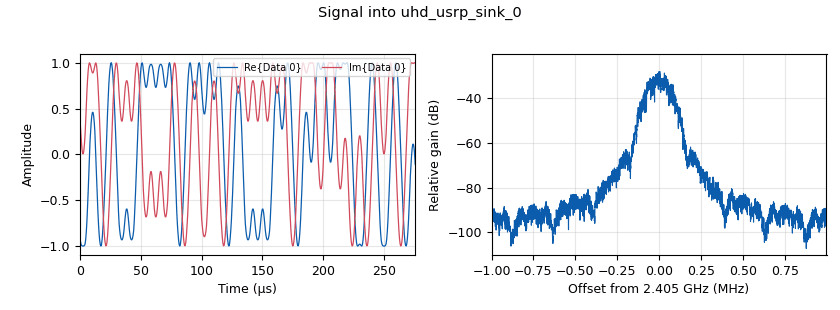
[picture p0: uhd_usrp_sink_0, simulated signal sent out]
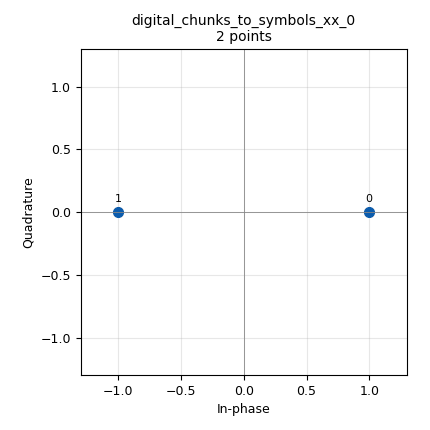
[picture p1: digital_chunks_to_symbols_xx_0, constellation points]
<?xml version='1.0' encoding='utf-8'?>
<flow_graph>
<block>
<key>options</key>
<param><key>id</key><value>top_block</value></param>
<param><key>generate_options</key><value>wx_gui</value></param>
<param><key>category</key><value>Custom</value></param>
</block>
<block>
<key>random_source_x</key>
<param><key>id</key><value>random_source_x_0</value></param>
<param><key>type</key><value>byte</value></param>
<param><key>min</key><value>0</value></param>
<param><key>max</key><value>256</value></param>
<param><key>num_samps</key><value>10000000</value></param>
<param><key>repeat</key><value>True</value></param>
</block>
<block>
<key>blocks_packed_to_unpacked_xx</key>
<param><key>id</key><value>blocks_packed_to_unpacked_xx_0</value></param>
<param><key>type</key><value>byte</value></param>
<param><key>bits_per_chunk</key><value>1</value></param>
<param><key>endianness</key><value>gr.GR_LSB_FIRST</value></param>
</block>
<block>
<key>digital_chunks_to_symbols_xx</key>
<param><key>id</key><value>digital_chunks_to_symbols_xx_0</value></param>
<param><key>in_type</key><value>byte</value></param>
<param><key>out_type</key><value>float</value></param>
<param><key>symbol_table</key><value>[1, -1]</value></param>
<param><key>dimension</key><value>1</value></param>
</block>
<block>
<key>blocks_throttle</key>
<param><key>id</key><value>blocks_throttle_0</value></param>
<param><key>type</key><value>byte</value></param>
<param><key>samples_per_second</key><value>samp_rate</value></param>
</block>
<block>
<key>blocks_float_to_char</key>
<param><key>id</key><value>blocks_float_to_char_0</value></param>
<param><key>scale</key><value>1</value></param>
</block>
<block>
<key>digital_gmskmod_bc</key>
<param><key>id</key><value>digital_gmskmod_bc_0</value></param>
<param><key>samples_per_symbol</key><value>8</value></param>
<param><key>bt</key><value>0.3</value></param>
<param><key>L</key><value>2</value></param>
</block>
<block>
<key>variable</key>
<param><key>id</key><value>samp_rate</value></param>
<param><key>value</key><value>2e6</value></param>
</block>
<block>
<key>uhd_usrp_sink</key>
<param><key>id</key><value>uhd_usrp_sink_0</value></param>
<param><key>type</key><value>fc32</value></param>
<param><key>dev_addr</key><value></value></param>
<param><key>sync</key><value></value></param>
<param><key>clock_rate</key><value>0.0</value></param>
<param><key>samp_rate</key><value>samp_rate</value></param>
<param><key>center_freq0</key><value>2.405e9</value></param>
<param><key>gain0</key><value>19</value></param>
<param><key>ant0</key><value></value></param>
</block>
<connection><source_block_id>random_source_x_0</source_block_id><sink_block_id>blocks_throttle_0</sink_block_id><source_key>0</source_key><sink_key>0</sink_key></connection>
<connection><source_block_id>digital_chunks_to_symbols_xx_0</source_block_id><sink_block_id>blocks_float_to_char_0</sink_block_id><source_key>0</source_key><sink_key>0</sink_key></connection>
<connection><source_block_id>blocks_throttle_0</source_block_id><sink_block_id>blocks_packed_to_unpacked_xx_0</sink_block_id><source_key>0</source_key><sink_key>0</sink_key></connection>
<connection><source_block_id>blocks_packed_to_unpacked_xx_0</source_block_id><sink_block_id>digital_chunks_to_symbols_xx_0</sink_block_id><source_key>0</source_key><sink_key>0</sink_key></connection>
<connection><source_block_id>blocks_float_to_char_0</source_block_id><sink_block_id>digital_gmskmod_bc_0</sink_block_id><source_key>0</source_key><sink_key>0</sink_key></connection>
<connection><source_block_id>digital_gmskmod_bc_0</source_block_id><sink_block_id>uhd_usrp_sink_0</sink_block_id><source_key>0</source_key><sink_key>0</sink_key></connection>
</flow_graph>
